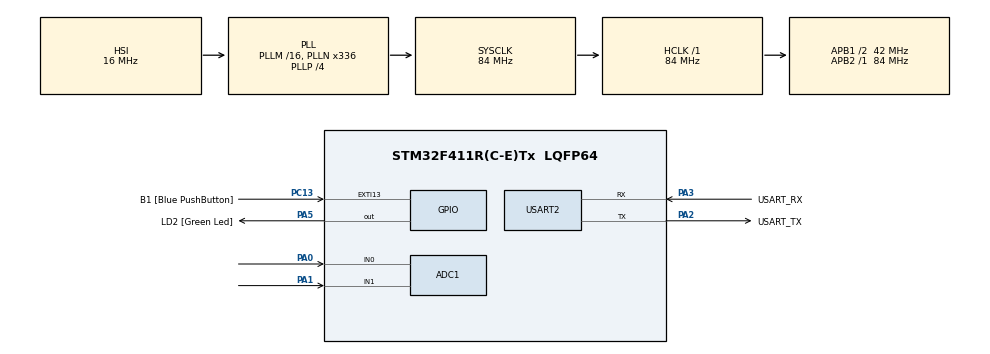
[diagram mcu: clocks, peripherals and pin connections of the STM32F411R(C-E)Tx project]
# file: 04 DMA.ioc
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Mcu.Family=STM32F4
RCC.CortexFreq_Value=84000000
VP_ADC1_TempSens_Input.Mode=IN-TempSens
ADC1.ContinuousConvMode=ENABLE
PA14.GPIO_Label=TCK
RCC.SYSCLKSource=RCC_SYSCLKSOURCE_PLLCLK
ProjectManager.StackSize=0x400
NVIC.ADC_IRQn=true\:0\:0\:false\:false\:true\:true\:true
PH0\ -\ OSC_IN.Signal=RCC_OSC_IN
ADC1.Channel-3\#ChannelRegularConversion=ADC_CHANNEL_VREFINT
RCC.HCLKFreq_Value=84000000
RCC.APB2TimFreq_Value=84000000
Dma.ADC1.0.Direction=DMA_PERIPH_TO_MEMORY
ADC1.Channel-2\#ChannelRegularConversion=ADC_CHANNEL_TEMPSENSOR
NVIC.DMA2_Stream0_IRQn=true\:0\:0\:false\:false\:true\:false\:true
Dma.ADC1.0.MemDataAlignment=DMA_MDATAALIGN_WORD
RCC.AHBFreq_Value=84000000
NVIC.EXTI15_10_IRQn=true\:0\:0\:false\:false\:true\:true\:true
ADC1.Channel-0\#ChannelRegularConversion=ADC_CHANNEL_0
RCC.HSE_VALUE=8000000
ADC1.ScanConvMode=ENABLE
PC13-ANTI_TAMP.Signal=GPXTI13
VP_ADC1_Vref_Input.Mode=IN-Vrefint
ADC1.Rank-2\#ChannelRegularConversion=3
PC14-OSC32_IN.Mode=LSE-External-Oscillator
PA14.Mode=Serial_Wire
Dma.ADC1.0.PeriphInc=DMA_PINC_DISABLE
SH.ADCx_IN0.0=ADC1_IN0,IN0
ADC1.SamplingTime-0\#ChannelRegularConversion=ADC_SAMPLETIME_480CYCLES
RCC.FLatency-AdvancedSettings=FLASH_LATENCY_2
Mcu.Package=LQFP64
USART2.VirtualMode=VM_ASYNC
PA2.GPIO_Label=USART_TX
SH.ADCx_IN1.0=ADC1_IN1,IN1
RCC.APB1TimFreq_Value=84000000
Dma.ADC1.0.FIFOMode=DMA_FIFOMODE_DISABLE
Dma.Request0=ADC1
PA3.Signal=USART2_RX
PB3.GPIO_Label=SWO
PC15-OSC32_OUT.Mode=LSE-External-Oscillator
Dma.ADC1.0.Instance=DMA2_Stream0
ADC1.Rank-0\#ChannelRegularConversion=1
PC13-ANTI_TAMP.GPIO_PuPd=GPIO_PULLUP
PC13-ANTI_TAMP.GPIO_Label=B1 [Blue PushButton]
PH1\ -\ OSC_OUT.Mode=HSE-External-Clock-Source
RCC.APB1CLKDivider=RCC_HCLK_DIV2
PC14-OSC32_IN.Signal=RCC_OSC32_IN
ADC1.SamplingTime-2\#ChannelRegularConversion=ADC_SAMPLETIME_480CYCLES
PA0-WKUP.Signal=ADCx_IN0
PA13.Signal=SYS_JTMS-SWDIO
PA3.Mode=Asynchronous
Dma.ADC1.0.PeriphDataAlignment=DMA_PDATAALIGN_WORD
PH0\ -\ OSC_IN.Mode=HSE-External-Clock-Source
ProjectManager.TargetToolchain=STM32CubeIDE
Dma.ADC1.0.Mode=DMA_CIRCULAR
Dma.ADC1.0.Priority=DMA_PRIORITY_LOW
ADC1.Channel-1\#ChannelRegularConversion=ADC_CHANNEL_1
PC15-OSC32_OUT.Signal=RCC_OSC32_OUT
PA1.Signal=ADCx_IN1
PA5.Signal=GPIO_Output
PH1\ -\ OSC_OUT.Signal=RCC_OSC_OUT
board=NUCLEO-F411RE
RCC.VCOOutputFreq_Value=336000000
RCC.APB2Freq_Value=84000000
ADC1.DMAContinuousRequests=ENABLE
ADC1.NbrOfConversion=4
PA13.Mode=Serial_Wire
Mcu.Name=STM32F411R(C-E)Tx
PA13.GPIO_Label=TMS
PA2.Signal=USART2_TX
RCC.48MHZClocksFreq_Value=84000000
PB3.Signal=SYS_JTDO-SWO
ADC1.SamplingTime-1\#ChannelRegularConversion=ADC_SAMPLETIME_480CYCLES
RCC.SYSCLKFreq_VALUE=84000000
ADC1.master=1
PA5.GPIO_Label=LD2 [Green Led]
ADC1.Rank-3\#ChannelRegularConversion=4
ADC1.SamplingTime-3\#ChannelRegularConversion=ADC_SAMPLETIME_480CYCLES
ADC1.Rank-1\#ChannelRegularConversion=2
PC13-ANTI_TAMP.GPIO_ModeDefaultEXTI=GPIO_MODE_IT_RISING_FALLING
PA14.Signal=SYS_JTCK-SWCLK
Dma.ADC1.0.MemInc=DMA_MINC_ENABLE
ProjectManager.HeapSize=0x200
RCC.HSI_VALUE=16000000
RCC.PLLP=RCC_PLLP_DIV4
NVIC.PriorityGroup=NVIC_PRIORITYGROUP_0
ADC1.NbrOfConversionFlag=1
RCC.PLLN=336
PA2.Mode=Asynchronous
RCC.APB1Freq_Value=42000000
PA3.GPIO_Label=USART_RX

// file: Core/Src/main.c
/* USER CODE BEGIN Header */
/**
  ******************************************************************************
  * @file           : main.c
  * @brief          : Main program body
  ******************************************************************************
  * @attention
  *
  * <h2><center>&copy; Copyright (c) 2021 STMicroelectronics.
  * All rights reserved.</center></h2>
  *
  * This software component is licensed by ST under BSD 3-Clause license,
  * the "License"; You may not use this file except in compliance with the
  * License. You may obtain a copy of the License at:
  *                        opensource.org/licenses/BSD-3-Clause
  *
  ******************************************************************************
  */
/* USER CODE END Header */
#include "main.h"

ADC_HandleTypeDef hadc1;
DMA_HandleTypeDef hdma_adc1;

UART_HandleTypeDef huart2;

/* USER CODE BEGIN PV */
uint32_t ADCData[4]={0};
uint32_t TimeStamp = 0;
int Stop = 0;
int x = 0;
int reflex = 0;
/* USER CODE END PV */

void SystemClock_Config(void);
static void MX_GPIO_Init(void);
static void MX_DMA_Init(void);
static void MX_USART2_UART_Init(void);
static void MX_ADC1_Init(void);

int main(void)
{

  /* MCU Configuration--------------------------------------------------------*/

  /* Reset of all peripherals, Initializes the Flash interface and the Systick. */
  HAL_Init();

  /* Configure the system clock */
  SystemClock_Config();

  /* Initialize all configured peripherals */
  MX_GPIO_Init();
  MX_DMA_Init();
  MX_USART2_UART_Init();
  MX_ADC1_Init();
  /* USER CODE BEGIN 2 */
  HAL_ADC_Start_DMA(&hadc1, ADCData, 4);
  HAL_GPIO_WritePin(LD2_GPIO_Port, LD2_Pin, 1);

  /* USER CODE END 2 */

  /* Infinite loop */
  while (1)
  {

    /* USER CODE BEGIN 3 */
	 if(x == 1)
	    	  {
		 	 if(HAL_GetTick()-TimeStamp >= Stop)
		 	 {
		  	  	  HAL_GPIO_WritePin(LD2_GPIO_Port, LD2_Pin, 1);
		 	 }

	    	  }

  }
  /* USER CODE END 3 */
}

void SystemClock_Config(void)
{
  RCC_OscInitTypeDef RCC_OscInitStruct = {0};
  RCC_ClkInitTypeDef RCC_ClkInitStruct = {0};

  /** Configure the main internal regulator output voltage
  */
  __HAL_RCC_PWR_CLK_ENABLE();
  __HAL_PWR_VOLTAGESCALING_CONFIG(PWR_REGULATOR_VOLTAGE_SCALE1);
  /** Initializes the RCC Oscillators according to the specified parameters
  * in the RCC_OscInitTypeDef structure.
  */
  RCC_OscInitStruct.OscillatorType = RCC_OSCILLATORTYPE_HSI;
  RCC_OscInitStruct.HSIState = RCC_HSI_ON;
  RCC_OscInitStruct.HSICalibrationValue = RCC_HSICALIBRATION_DEFAULT;
  RCC_OscInitStruct.PLL.PLLState = RCC_PLL_ON;
  RCC_OscInitStruct.PLL.PLLSource = RCC_PLLSOURCE_HSI;
  RCC_OscInitStruct.PLL.PLLM = 16;
  RCC_OscInitStruct.PLL.PLLN = 336;
  RCC_OscInitStruct.PLL.PLLP = RCC_PLLP_DIV4;
  RCC_OscInitStruct.PLL.PLLQ = 4;
  if (HAL_RCC_OscConfig(&RCC_OscInitStruct) != HAL_OK)
  {
    Error_Handler();
  }
  /** Initializes the CPU, AHB and APB buses clocks
  */
  RCC_ClkInitStruct.ClockType = RCC_CLOCKTYPE_HCLK|RCC_CLOCKTYPE_SYSCLK
                              |RCC_CLOCKTYPE_PCLK1|RCC_CLOCKTYPE_PCLK2;
  RCC_ClkInitStruct.SYSCLKSource = RCC_SYSCLKSOURCE_PLLCLK;
  RCC_ClkInitStruct.AHBCLKDivider = RCC_SYSCLK_DIV1;
  RCC_ClkInitStruct.APB1CLKDivider = RCC_HCLK_DIV2;
  RCC_ClkInitStruct.APB2CLKDivider = RCC_HCLK_DIV1;

  if (HAL_RCC_ClockConfig(&RCC_ClkInitStruct, FLASH_LATENCY_2) != HAL_OK)
  {
    Error_Handler();
  }
}

static void MX_ADC1_Init(void)
{

  ADC_ChannelConfTypeDef sConfig = {0};

  /** Configure the global features of the ADC (Clock, Resolution, Data Alignment and number of conversion)
  */
  hadc1.Instance = ADC1;
  hadc1.Init.ClockPrescaler = ADC_CLOCK_SYNC_PCLK_DIV4;
  hadc1.Init.Resolution = ADC_RESOLUTION_12B;
  hadc1.Init.ScanConvMode = ENABLE;
  hadc1.Init.ContinuousConvMode = ENABLE;
  hadc1.Init.DiscontinuousConvMode = DISABLE;
  hadc1.Init.ExternalTrigConvEdge = ADC_EXTERNALTRIGCONVEDGE_NONE;
  hadc1.Init.ExternalTrigConv = ADC_SOFTWARE_START;
  hadc1.Init.DataAlign = ADC_DATAALIGN_RIGHT;
  hadc1.Init.NbrOfConversion = 4;
  hadc1.Init.DMAContinuousRequests = ENABLE;
  hadc1.Init.EOCSelection = ADC_EOC_SINGLE_CONV;
  if (HAL_ADC_Init(&hadc1) != HAL_OK)
  {
    Error_Handler();
  }
  /** Configure for the selected ADC regular channel its corresponding rank in the sequencer and its sample time.
  */
  sConfig.Channel = ADC_CHANNEL_0;
  sConfig.Rank = 1;
  sConfig.SamplingTime = ADC_SAMPLETIME_480CYCLES;
  if (HAL_ADC_ConfigChannel(&hadc1, &sConfig) != HAL_OK)
  {
    Error_Handler();
  }
  /** Configure for the selected ADC regular channel its corresponding rank in the sequencer and its sample time.
  */
  sConfig.Channel = ADC_CHANNEL_1;
  sConfig.Rank = 2;
  if (HAL_ADC_ConfigChannel(&hadc1, &sConfig) != HAL_OK)
  {
    Error_Handler();
  }
  /** Configure for the selected ADC regular channel its corresponding rank in the sequencer and its sample time.
  */
  sConfig.Channel = ADC_CHANNEL_TEMPSENSOR;
  sConfig.Rank = 3;
  if (HAL_ADC_ConfigChannel(&hadc1, &sConfig) != HAL_OK)
  {
    Error_Handler();
  }
  /** Configure for the selected ADC regular channel its corresponding rank in the sequencer and its sample time.
  */
  sConfig.Channel = ADC_CHANNEL_VREFINT;
  sConfig.Rank = 4;
  if (HAL_ADC_ConfigChannel(&hadc1, &sConfig) != HAL_OK)
  {
    Error_Handler();
  }

}

static void MX_USART2_UART_Init(void)
{

  huart2.Instance = USART2;
  huart2.Init.BaudRate = 115200;
  huart2.Init.WordLength = UART_WORDLENGTH_8B;
  huart2.Init.StopBits = UART_STOPBITS_1;
  huart2.Init.Parity = UART_PARITY_NONE;
  huart2.Init.Mode = UART_MODE_TX_RX;
  huart2.Init.HwFlowCtl = UART_HWCONTROL_NONE;
  huart2.Init.OverSampling = UART_OVERSAMPLING_16;
  if (HAL_UART_Init(&huart2) != HAL_OK)
  {
    Error_Handler();
  }

}

static void MX_DMA_Init(void)
{

  /* DMA controller clock enable */
  __HAL_RCC_DMA2_CLK_ENABLE();

  /* DMA interrupt init */
  /* DMA2_Stream0_IRQn interrupt configuration */
  HAL_NVIC_SetPriority(DMA2_Stream0_IRQn, 0, 0);
  HAL_NVIC_EnableIRQ(DMA2_Stream0_IRQn);

}

static void MX_GPIO_Init(void)
{
  GPIO_InitTypeDef GPIO_InitStruct = {0};

  /* GPIO Ports Clock Enable */
  __HAL_RCC_GPIOC_CLK_ENABLE();
  __HAL_RCC_GPIOH_CLK_ENABLE();
  __HAL_RCC_GPIOA_CLK_ENABLE();
  __HAL_RCC_GPIOB_CLK_ENABLE();

  /*Configure GPIO pin Output Level */
  HAL_GPIO_WritePin(LD2_GPIO_Port, LD2_Pin, GPIO_PIN_RESET);

  /*Configure GPIO pin : B1_Pin */
  GPIO_InitStruct.Pin = B1_Pin;
  GPIO_InitStruct.Mode = GPIO_MODE_IT_RISING_FALLING;
  GPIO_InitStruct.Pull = GPIO_PULLUP;
  HAL_GPIO_Init(B1_GPIO_Port, &GPIO_InitStruct);

  /*Configure GPIO pin : LD2_Pin */
  GPIO_InitStruct.Pin = LD2_Pin;
  GPIO_InitStruct.Mode = GPIO_MODE_OUTPUT_PP;
  GPIO_InitStruct.Pull = GPIO_NOPULL;
  GPIO_InitStruct.Speed = GPIO_SPEED_FREQ_LOW;
  HAL_GPIO_Init(LD2_GPIO_Port, &GPIO_InitStruct);

  /* EXTI interrupt init*/
  HAL_NVIC_SetPriority(EXTI15_10_IRQn, 0, 0);
  HAL_NVIC_EnableIRQ(EXTI15_10_IRQn);

}

/* USER CODE BEGIN 4 */
void HAL_GPIO_EXTI_Callback(uint16_t GPIO_Pin)
{
	if(GPIO_Pin == GPIO_PIN_13)
	{
		//HAL_GPIO_TogglePin(LD2_GPIO_Port, LD2_Pin);
		if (x==0){
			HAL_GPIO_WritePin(LD2_GPIO_Port, LD2_Pin, 0);
			TimeStamp = HAL_GetTick();
			Stop = 1000 +((22695477*ADCData[0])+ADCData[1])%10000;
			x = 1;
		}
		else if (x == 1){
			reflex = HAL_GetTick() - (TimeStamp + Stop);
			x=0;
		}
	}

}
/* USER CODE END 4 */

void Error_Handler(void)
{
  __disable_irq();
  while (1)
  {
  }
}

/************************ (C) COPYRIGHT STMicroelectronics *****END OF FILE****/
